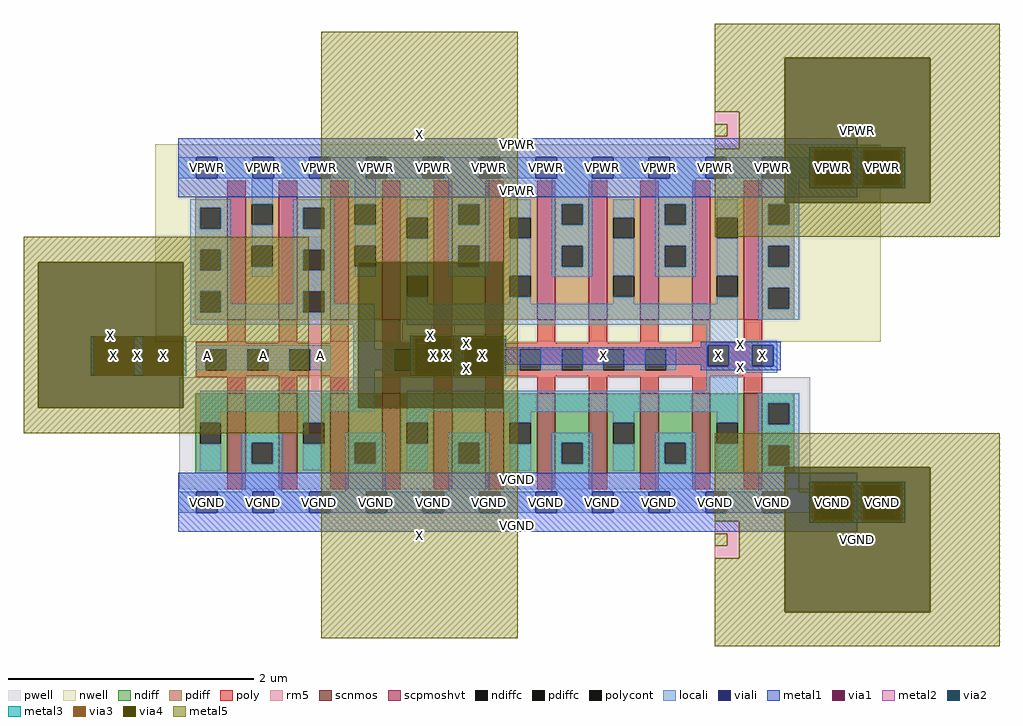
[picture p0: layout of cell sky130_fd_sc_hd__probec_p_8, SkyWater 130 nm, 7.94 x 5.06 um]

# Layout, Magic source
magic
tech sky130B
magscale 1 2
<< nwell >>
rect -38 261 1142 582
<< pwell >>
rect 1 21 1027 203
rect 30 -17 64 21
<< scnmos >>
rect 79 47 109 177
rect 163 47 193 177
rect 247 47 277 177
rect 331 47 361 177
rect 415 47 445 177
rect 499 47 529 177
rect 583 47 613 177
rect 667 47 697 177
rect 751 47 781 177
rect 835 47 865 177
rect 919 47 949 177
<< scpmoshvt >>
rect 79 297 109 497
rect 163 297 193 497
rect 247 297 277 497
rect 331 297 361 497
rect 415 297 445 497
rect 499 297 529 497
rect 583 297 613 497
rect 667 297 697 497
rect 751 297 781 497
rect 835 297 865 497
rect 919 297 949 497
<< ndiff >>
rect 27 129 79 177
rect 27 95 35 129
rect 69 95 79 129
rect 27 47 79 95
rect 109 97 163 177
rect 109 63 119 97
rect 153 63 163 97
rect 109 47 163 63
rect 193 129 247 177
rect 193 95 203 129
rect 237 95 247 129
rect 193 47 247 95
rect 277 97 331 177
rect 277 63 287 97
rect 321 63 331 97
rect 277 47 331 63
rect 361 129 415 177
rect 361 95 371 129
rect 405 95 415 129
rect 361 47 415 95
rect 445 97 499 177
rect 445 63 455 97
rect 489 63 499 97
rect 445 47 499 63
rect 529 129 583 177
rect 529 95 539 129
rect 573 95 583 129
rect 529 47 583 95
rect 613 97 667 177
rect 613 63 623 97
rect 657 63 667 97
rect 613 47 667 63
rect 697 129 751 177
rect 697 95 707 129
rect 741 95 751 129
rect 697 47 751 95
rect 781 97 835 177
rect 781 63 791 97
rect 825 63 835 97
rect 781 47 835 63
rect 865 129 919 177
rect 865 95 875 129
rect 909 95 919 129
rect 865 47 919 95
rect 949 161 1001 177
rect 949 127 959 161
rect 993 127 1001 161
rect 949 93 1001 127
rect 949 59 959 93
rect 993 59 1001 93
rect 949 47 1001 59
<< pdiff >>
rect 27 479 79 497
rect 27 445 35 479
rect 69 445 79 479
rect 27 411 79 445
rect 27 377 35 411
rect 69 377 79 411
rect 27 343 79 377
rect 27 309 35 343
rect 69 309 79 343
rect 27 297 79 309
rect 109 485 163 497
rect 109 451 119 485
rect 153 451 163 485
rect 109 417 163 451
rect 109 383 119 417
rect 153 383 163 417
rect 109 297 163 383
rect 193 479 247 497
rect 193 445 203 479
rect 237 445 247 479
rect 193 411 247 445
rect 193 377 203 411
rect 237 377 247 411
rect 193 343 247 377
rect 193 309 203 343
rect 237 309 247 343
rect 193 297 247 309
rect 277 485 331 497
rect 277 451 287 485
rect 321 451 331 485
rect 277 417 331 451
rect 277 383 287 417
rect 321 383 331 417
rect 277 297 331 383
rect 361 463 415 497
rect 361 429 371 463
rect 405 429 415 463
rect 361 368 415 429
rect 361 334 371 368
rect 405 334 415 368
rect 361 297 415 334
rect 445 485 499 497
rect 445 451 455 485
rect 489 451 499 485
rect 445 417 499 451
rect 445 383 455 417
rect 489 383 499 417
rect 445 297 499 383
rect 529 463 583 497
rect 529 429 539 463
rect 573 429 583 463
rect 529 368 583 429
rect 529 334 539 368
rect 573 334 583 368
rect 529 297 583 334
rect 613 485 667 497
rect 613 451 623 485
rect 657 451 667 485
rect 613 417 667 451
rect 613 383 623 417
rect 657 383 667 417
rect 613 297 667 383
rect 697 463 751 497
rect 697 429 707 463
rect 741 429 751 463
rect 697 368 751 429
rect 697 334 707 368
rect 741 334 751 368
rect 697 297 751 334
rect 781 485 835 497
rect 781 451 791 485
rect 825 451 835 485
rect 781 417 835 451
rect 781 383 791 417
rect 825 383 835 417
rect 781 297 835 383
rect 865 463 919 497
rect 865 429 875 463
rect 909 429 919 463
rect 865 368 919 429
rect 865 334 875 368
rect 909 334 919 368
rect 865 297 919 334
rect 949 485 1001 497
rect 949 451 959 485
rect 993 451 1001 485
rect 949 417 1001 451
rect 949 383 959 417
rect 993 383 1001 417
rect 949 349 1001 383
rect 949 315 959 349
rect 993 315 1001 349
rect 949 297 1001 315
<< ndiffc >>
rect 35 95 69 129
rect 119 63 153 97
rect 203 95 237 129
rect 287 63 321 97
rect 371 95 405 129
rect 455 63 489 97
rect 539 95 573 129
rect 623 63 657 97
rect 707 95 741 129
rect 791 63 825 97
rect 875 95 909 129
rect 959 127 993 161
rect 959 59 993 93
<< pdiffc >>
rect 35 445 69 479
rect 35 377 69 411
rect 35 309 69 343
rect 119 451 153 485
rect 119 383 153 417
rect 203 445 237 479
rect 203 377 237 411
rect 203 309 237 343
rect 287 451 321 485
rect 287 383 321 417
rect 371 429 405 463
rect 371 334 405 368
rect 455 451 489 485
rect 455 383 489 417
rect 539 429 573 463
rect 539 334 573 368
rect 623 451 657 485
rect 623 383 657 417
rect 707 429 741 463
rect 707 334 741 368
rect 791 451 825 485
rect 791 383 825 417
rect 875 429 909 463
rect 875 334 909 368
rect 959 451 993 485
rect 959 383 993 417
rect 959 315 993 349
<< poly >>
rect 79 497 109 523
rect 163 497 193 523
rect 247 497 277 523
rect 331 497 361 523
rect 415 497 445 523
rect 499 497 529 523
rect 583 497 613 523
rect 667 497 697 523
rect 751 497 781 523
rect 835 497 865 523
rect 919 497 949 523
rect 79 261 109 297
rect 28 259 109 261
rect 163 259 193 297
rect 247 259 277 297
rect 28 249 277 259
rect 28 215 44 249
rect 78 215 112 249
rect 146 215 180 249
rect 214 215 277 249
rect 28 205 277 215
rect 28 203 109 205
rect 79 177 109 203
rect 163 177 193 205
rect 247 177 277 205
rect 331 259 361 297
rect 415 259 445 297
rect 499 259 529 297
rect 583 259 613 297
rect 667 259 697 297
rect 751 259 781 297
rect 835 259 865 297
rect 919 259 949 297
rect 331 249 949 259
rect 331 215 351 249
rect 385 215 419 249
rect 453 215 487 249
rect 521 215 555 249
rect 589 215 623 249
rect 657 215 691 249
rect 725 215 759 249
rect 793 215 949 249
rect 331 205 949 215
rect 331 177 361 205
rect 415 177 445 205
rect 499 177 529 205
rect 583 177 613 205
rect 667 177 697 205
rect 751 177 781 205
rect 835 177 865 205
rect 919 177 949 205
rect 79 21 109 47
rect 163 21 193 47
rect 247 21 277 47
rect 331 21 361 47
rect 415 21 445 47
rect 499 21 529 47
rect 583 21 613 47
rect 667 21 697 47
rect 751 21 781 47
rect 835 21 865 47
rect 919 21 949 47
<< polycont >>
rect 44 215 78 249
rect 112 215 146 249
rect 180 215 214 249
rect 351 215 385 249
rect 419 215 453 249
rect 487 215 521 249
rect 555 215 589 249
rect 623 215 657 249
rect 691 215 725 249
rect 759 215 793 249
<< locali >>
rect 0 527 29 561
rect 63 527 121 561
rect 155 527 213 561
rect 247 527 305 561
rect 339 527 397 561
rect 431 527 489 561
rect 523 527 581 561
rect 615 527 673 561
rect 707 527 765 561
rect 799 527 857 561
rect 891 527 949 561
rect 983 527 1041 561
rect 1075 527 1104 561
rect 19 479 85 493
rect 19 445 35 479
rect 69 445 85 479
rect 19 411 85 445
rect 19 377 35 411
rect 69 377 85 411
rect 19 343 85 377
rect 119 485 153 527
rect 119 417 153 451
rect 119 367 153 383
rect 187 479 253 493
rect 187 445 203 479
rect 237 445 253 479
rect 187 411 253 445
rect 187 377 203 411
rect 237 377 253 411
rect 19 309 35 343
rect 69 323 85 343
rect 187 343 253 377
rect 287 485 321 527
rect 287 417 321 451
rect 287 367 321 383
rect 371 463 405 493
rect 371 368 405 429
rect 187 323 203 343
rect 69 309 203 323
rect 237 323 253 343
rect 439 485 505 527
rect 439 451 455 485
rect 489 451 505 485
rect 439 417 505 451
rect 439 383 455 417
rect 489 383 505 417
rect 439 367 505 383
rect 539 463 573 493
rect 539 368 573 429
rect 371 323 405 334
rect 607 485 673 527
rect 607 451 623 485
rect 657 451 673 485
rect 607 417 673 451
rect 607 383 623 417
rect 657 383 673 417
rect 607 367 673 383
rect 707 463 741 493
rect 707 368 741 429
rect 539 323 573 334
rect 775 485 841 527
rect 775 451 791 485
rect 825 451 841 485
rect 775 417 841 451
rect 775 383 791 417
rect 825 383 841 417
rect 775 367 841 383
rect 875 463 909 493
rect 875 368 909 429
rect 707 323 741 334
rect 875 323 909 334
rect 237 309 319 323
rect 19 289 319 309
rect 371 289 909 323
rect 943 485 1009 527
rect 943 451 959 485
rect 993 451 1009 485
rect 943 417 1009 451
rect 943 383 959 417
rect 993 383 1009 417
rect 943 349 1009 383
rect 943 315 959 349
rect 993 315 1009 349
rect 943 297 1009 315
rect 28 249 248 255
rect 28 215 44 249
rect 78 215 112 249
rect 146 215 180 249
rect 214 215 248 249
rect 284 249 319 289
rect 858 263 909 289
rect 858 255 974 263
rect 284 215 351 249
rect 385 215 419 249
rect 453 215 487 249
rect 521 215 555 249
rect 589 215 623 249
rect 657 215 691 249
rect 725 215 759 249
rect 793 215 809 249
rect 858 221 861 255
rect 895 221 933 255
rect 967 221 974 255
rect 284 181 319 215
rect 858 211 974 221
rect 858 181 909 211
rect 35 147 319 181
rect 371 147 909 181
rect 35 129 69 147
rect 203 129 237 147
rect 35 51 69 95
rect 103 97 169 113
rect 103 63 119 97
rect 153 63 169 97
rect 103 17 169 63
rect 371 129 405 147
rect 203 52 237 95
rect 271 97 337 113
rect 271 63 287 97
rect 321 63 337 97
rect 271 17 337 63
rect 539 129 573 147
rect 371 51 405 95
rect 439 97 505 113
rect 439 63 455 97
rect 489 63 505 97
rect 439 17 505 63
rect 707 129 741 147
rect 539 51 573 95
rect 607 97 673 113
rect 607 63 623 97
rect 657 63 673 97
rect 607 17 673 63
rect 875 129 909 147
rect 707 51 741 95
rect 775 97 841 113
rect 775 63 791 97
rect 825 63 841 97
rect 775 17 841 63
rect 875 51 909 95
rect 943 161 1009 177
rect 943 127 959 161
rect 993 127 1009 161
rect 943 93 1009 127
rect 943 59 959 93
rect 993 59 1009 93
rect 943 17 1009 59
rect 0 -17 29 17
rect 63 -17 121 17
rect 155 -17 213 17
rect 247 -17 305 17
rect 339 -17 397 17
rect 431 -17 489 17
rect 523 -17 581 17
rect 615 -17 673 17
rect 707 -17 765 17
rect 799 -17 857 17
rect 891 -17 949 17
rect 983 -17 1041 17
rect 1075 -17 1104 17
<< viali >>
rect 29 527 63 561
rect 121 527 155 561
rect 213 527 247 561
rect 305 527 339 561
rect 397 527 431 561
rect 489 527 523 561
rect 581 527 615 561
rect 673 527 707 561
rect 765 527 799 561
rect 857 527 891 561
rect 949 527 983 561
rect 1041 527 1075 561
rect 861 221 895 255
rect 933 221 967 255
rect 29 -17 63 17
rect 121 -17 155 17
rect 213 -17 247 17
rect 305 -17 339 17
rect 397 -17 431 17
rect 489 -17 523 17
rect 581 -17 615 17
rect 673 -17 707 17
rect 765 -17 799 17
rect 857 -17 891 17
rect 949 -17 983 17
rect 1041 -17 1075 17
<< metal1 >>
rect 0 570 1104 592
rect 0 561 1046 570
rect 0 527 29 561
rect 63 527 121 561
rect 155 527 213 561
rect 247 527 305 561
rect 339 527 397 561
rect 431 527 489 561
rect 523 527 581 561
rect 615 527 673 561
rect 707 527 765 561
rect 799 527 857 561
rect 891 527 949 561
rect 983 527 1041 561
rect 0 518 1046 527
rect 1098 518 1110 570
rect 1162 518 1168 570
rect 0 496 1104 518
rect 404 212 410 264
rect 462 212 474 264
rect 526 252 532 264
rect 849 255 979 261
rect 849 252 861 255
rect 526 224 861 252
rect 526 212 532 224
rect 849 221 861 224
rect 895 221 933 255
rect 967 221 979 255
rect 849 215 979 221
rect 0 26 1104 48
rect 0 17 1046 26
rect 0 -17 29 17
rect 63 -17 121 17
rect 155 -17 213 17
rect 247 -17 305 17
rect 339 -17 397 17
rect 431 -17 489 17
rect 523 -17 581 17
rect 615 -17 673 17
rect 707 -17 765 17
rect 799 -17 857 17
rect 891 -17 949 17
rect 983 -17 1041 17
rect 0 -26 1046 -17
rect 1098 -26 1110 26
rect 1162 -26 1168 26
rect 0 -48 1104 -26
<< via1 >>
rect 1046 561 1098 570
rect 1046 527 1075 561
rect 1075 527 1098 561
rect 1046 518 1098 527
rect 1110 518 1162 570
rect 410 212 462 264
rect 474 212 526 264
rect 1046 17 1098 26
rect 1046 -17 1075 17
rect 1075 -17 1098 17
rect 1046 -26 1098 -17
rect 1110 -26 1162 26
<< metal2 >>
rect 1027 516 1036 572
rect 1092 570 1116 572
rect 1098 518 1110 570
rect 1092 516 1116 518
rect 1172 516 1181 572
rect 378 210 387 266
rect 443 264 467 266
rect 523 264 532 266
rect 462 212 467 264
rect 526 212 532 264
rect 443 210 467 212
rect 523 210 532 212
rect 1027 -28 1036 28
rect 1092 26 1116 28
rect 1098 -26 1110 26
rect 1092 -28 1116 -26
rect 1172 -28 1181 28
<< via2 >>
rect 1036 570 1092 572
rect 1116 570 1172 572
rect 1036 518 1046 570
rect 1046 518 1092 570
rect 1116 518 1162 570
rect 1162 518 1172 570
rect 1036 516 1092 518
rect 1116 516 1172 518
rect 387 264 443 266
rect 467 264 523 266
rect 387 212 410 264
rect 410 212 443 264
rect 467 212 474 264
rect 474 212 523 264
rect 387 210 443 212
rect 467 210 523 212
rect 1036 26 1092 28
rect 1116 26 1172 28
rect 1036 -26 1046 26
rect 1046 -26 1092 26
rect 1116 -26 1162 26
rect 1162 -26 1172 26
rect 1036 -28 1092 -26
rect 1116 -28 1172 -26
<< metal3 >>
rect 1026 576 1182 577
rect 1026 512 1032 576
rect 1096 512 1112 576
rect 1176 512 1182 576
rect 1026 511 1182 512
rect 377 270 533 271
rect -143 206 -137 270
rect -73 206 -57 270
rect 7 206 13 270
rect 377 206 383 270
rect 447 206 463 270
rect 527 206 533 270
rect 377 205 533 206
rect 1026 32 1182 33
rect 1026 -32 1032 32
rect 1096 -32 1112 32
rect 1176 -32 1182 32
rect 1026 -33 1182 -32
<< via3 >>
rect 1032 572 1096 576
rect 1032 516 1036 572
rect 1036 516 1092 572
rect 1092 516 1096 572
rect 1032 512 1096 516
rect 1112 572 1176 576
rect 1112 516 1116 572
rect 1116 516 1172 572
rect 1172 516 1176 572
rect 1112 512 1176 516
rect -137 206 -73 270
rect -57 206 7 270
rect 383 266 447 270
rect 383 210 387 266
rect 387 210 443 266
rect 443 210 447 266
rect 383 206 447 210
rect 463 266 527 270
rect 463 210 467 266
rect 467 210 523 266
rect 523 210 527 266
rect 463 206 527 210
rect 1032 28 1096 32
rect 1032 -28 1036 28
rect 1036 -28 1092 28
rect 1092 -28 1096 28
rect 1032 -32 1096 -28
rect 1112 28 1176 32
rect 1112 -28 1116 28
rect 1116 -28 1172 28
rect 1172 -28 1176 28
rect 1112 -32 1176 -28
<< via4 >>
rect 986 576 1222 723
rect 986 512 1032 576
rect 1032 512 1096 576
rect 1096 512 1112 576
rect 1112 512 1176 576
rect 1176 512 1222 576
rect 986 487 1222 512
rect -228 270 8 390
rect -228 206 -137 270
rect -137 206 -73 270
rect -73 206 -57 270
rect -57 206 7 270
rect 7 206 8 270
rect -228 154 8 206
rect 292 270 528 390
rect 292 206 383 270
rect 383 206 447 270
rect 447 206 463 270
rect 463 206 527 270
rect 527 206 528 270
rect 292 154 528 206
rect 986 32 1222 57
rect 986 -32 1032 32
rect 1032 -32 1096 32
rect 1096 -32 1112 32
rect 1112 -32 1176 32
rect 1176 -32 1222 32
rect 986 -179 1222 -32
<< metal5 >>
rect -252 390 212 432
rect -252 154 -228 390
rect 8 154 212 390
rect -252 112 212 154
rect 232 390 552 765
rect 872 723 1335 778
rect 872 635 986 723
rect 872 595 892 615
rect 912 575 986 635
rect 872 487 986 575
rect 1222 487 1335 723
rect 872 432 1335 487
rect 232 154 292 390
rect 528 154 552 390
rect 232 -221 552 154
rect 872 57 1335 112
rect 872 -31 986 57
rect 872 -71 892 -51
rect 912 -91 986 -31
rect 872 -179 986 -91
rect 1222 -179 1335 57
rect 872 -234 1335 -179
<< rm5 >>
rect 212 112 232 432
rect 872 615 912 635
rect 892 595 912 615
rect 872 575 912 595
rect 872 -51 912 -31
rect 892 -71 912 -51
rect 872 -91 912 -71
<< labels >>
flabel metal3 s -98 206 -34 270 0 FreeSans 600 0 0 0 X
port 6 nsew signal output
flabel locali s 214 221 248 255 0 FreeSans 200 0 0 0 A
port 1 nsew signal input
flabel locali s 122 221 156 255 0 FreeSans 200 0 0 0 A
port 1 nsew signal input
flabel locali s 30 -17 64 17 0 FreeSans 200 0 0 0 VGND
port 2 nsew ground bidirectional abutment
flabel locali s 30 527 64 561 0 FreeSans 200 0 0 0 VPWR
port 5 nsew power bidirectional abutment
flabel locali s 30 221 64 255 0 FreeSans 200 0 0 0 A
port 1 nsew signal input
flabel nwell s 30 527 64 561 0 FreeSans 200 0 0 0 VPB
port 4 nsew power bidirectional
flabel pwell s 30 -17 64 17 0 FreeSans 200 0 0 0 VNB
port 3 nsew ground bidirectional
flabel metal1 s 30 -17 64 17 0 FreeSans 200 0 0 0 VGND
port 2 nsew ground bidirectional abutment
flabel metal1 s 30 527 64 561 0 FreeSans 200 0 0 0 VPWR
port 5 nsew power bidirectional abutment
rlabel comment s 0 0 0 0 4 probec_p_8
rlabel via4 s 330 192 490 352 1 X
port 6 nsew signal output
rlabel via4 s -190 192 -30 352 1 X
port 6 nsew signal output
rlabel via3 s 475 218 515 258 1 X
port 6 nsew signal output
rlabel via3 s 395 218 435 258 1 X
port 6 nsew signal output
rlabel via3 s -45 218 -5 258 1 X
port 6 nsew signal output
rlabel via3 s -125 218 -85 258 1 X
port 6 nsew signal output
rlabel via2 s 475 218 515 258 1 X
port 6 nsew signal output
rlabel via2 s 395 218 435 258 1 X
port 6 nsew signal output
rlabel via1 s 485 223 515 253 1 X
port 6 nsew signal output
rlabel via1 s 421 223 451 253 1 X
port 6 nsew signal output
rlabel viali s 933 221 967 255 1 X
port 6 nsew signal output
rlabel viali s 861 221 895 255 1 X
port 6 nsew signal output
rlabel metal1 s 849 252 979 261 1 X
port 6 nsew signal output
rlabel metal1 s 849 215 979 224 1 X
port 6 nsew signal output
rlabel metal1 s 404 252 532 264 1 X
port 6 nsew signal output
rlabel metal1 s 404 224 979 252 1 X
port 6 nsew signal output
rlabel metal1 s 404 212 532 224 1 X
port 6 nsew signal output
rlabel metal2 s 378 210 532 266 1 X
port 6 nsew signal output
rlabel metal3 s -143 206 13 270 1 X
port 6 nsew signal output
rlabel metal3 s 377 205 533 271 1 X
port 6 nsew signal output
rlabel metal4 s -228 154 8 390 1 X
port 6 nsew signal output
rlabel metal4 s 292 154 528 390 1 X
port 6 nsew signal output
rlabel metal5 s 232 432 552 765 1 X
port 6 nsew signal output
rlabel metal5 s 232 -221 552 112 1 X
port 6 nsew signal output
rlabel via4 s 1024 -141 1184 19 1 VGND
port 2 nsew ground bidirectional abutment
rlabel via3 s 1124 -20 1164 20 1 VGND
port 2 nsew ground bidirectional abutment
rlabel via3 s 1044 -20 1084 20 1 VGND
port 2 nsew ground bidirectional abutment
rlabel via2 s 1124 -20 1164 20 1 VGND
port 2 nsew ground bidirectional abutment
rlabel via2 s 1044 -20 1084 20 1 VGND
port 2 nsew ground bidirectional abutment
rlabel via1 s 1121 -15 1151 15 1 VGND
port 2 nsew ground bidirectional abutment
rlabel via1 s 1057 -15 1087 15 1 VGND
port 2 nsew ground bidirectional abutment
rlabel viali s 1041 -17 1075 17 1 VGND
port 2 nsew ground bidirectional abutment
rlabel viali s 949 -17 983 17 1 VGND
port 2 nsew ground bidirectional abutment
rlabel viali s 857 -17 891 17 1 VGND
port 2 nsew ground bidirectional abutment
rlabel viali s 765 -17 799 17 1 VGND
port 2 nsew ground bidirectional abutment
rlabel viali s 673 -17 707 17 1 VGND
port 2 nsew ground bidirectional abutment
rlabel viali s 581 -17 615 17 1 VGND
port 2 nsew ground bidirectional abutment
rlabel viali s 489 -17 523 17 1 VGND
port 2 nsew ground bidirectional abutment
rlabel viali s 397 -17 431 17 1 VGND
port 2 nsew ground bidirectional abutment
rlabel viali s 305 -17 339 17 1 VGND
port 2 nsew ground bidirectional abutment
rlabel viali s 213 -17 247 17 1 VGND
port 2 nsew ground bidirectional abutment
rlabel viali s 121 -17 155 17 1 VGND
port 2 nsew ground bidirectional abutment
rlabel viali s 29 -17 63 17 1 VGND
port 2 nsew ground bidirectional abutment
rlabel metal1 s 0 26 1104 48 1 VGND
port 2 nsew ground bidirectional abutment
rlabel metal1 s 0 -26 1168 26 1 VGND
port 2 nsew ground bidirectional abutment
rlabel metal1 s 0 -48 1104 -26 1 VGND
port 2 nsew ground bidirectional abutment
rlabel metal2 s 1027 -28 1181 28 1 VGND
port 2 nsew ground bidirectional abutment
rlabel metal3 s 1026 -33 1182 33 1 VGND
port 2 nsew ground bidirectional abutment
rlabel metal4 s 986 -179 1222 57 1 VGND
port 2 nsew ground bidirectional abutment
rlabel via4 s 1024 525 1184 685 1 VPWR
port 5 nsew power bidirectional abutment
rlabel via3 s 1124 524 1164 564 1 VPWR
port 5 nsew power bidirectional abutment
rlabel via3 s 1044 524 1084 564 1 VPWR
port 5 nsew power bidirectional abutment
rlabel via2 s 1124 524 1164 564 1 VPWR
port 5 nsew power bidirectional abutment
rlabel via2 s 1044 524 1084 564 1 VPWR
port 5 nsew power bidirectional abutment
rlabel via1 s 1121 529 1151 559 1 VPWR
port 5 nsew power bidirectional abutment
rlabel via1 s 1057 529 1087 559 1 VPWR
port 5 nsew power bidirectional abutment
rlabel viali s 1041 527 1075 561 1 VPWR
port 5 nsew power bidirectional abutment
rlabel viali s 949 527 983 561 1 VPWR
port 5 nsew power bidirectional abutment
rlabel viali s 857 527 891 561 1 VPWR
port 5 nsew power bidirectional abutment
rlabel viali s 765 527 799 561 1 VPWR
port 5 nsew power bidirectional abutment
rlabel viali s 673 527 707 561 1 VPWR
port 5 nsew power bidirectional abutment
rlabel viali s 581 527 615 561 1 VPWR
port 5 nsew power bidirectional abutment
rlabel viali s 489 527 523 561 1 VPWR
port 5 nsew power bidirectional abutment
rlabel viali s 397 527 431 561 1 VPWR
port 5 nsew power bidirectional abutment
rlabel viali s 305 527 339 561 1 VPWR
port 5 nsew power bidirectional abutment
rlabel viali s 213 527 247 561 1 VPWR
port 5 nsew power bidirectional abutment
rlabel viali s 121 527 155 561 1 VPWR
port 5 nsew power bidirectional abutment
rlabel viali s 29 527 63 561 1 VPWR
port 5 nsew power bidirectional abutment
rlabel metal1 s 0 570 1104 592 1 VPWR
port 5 nsew power bidirectional abutment
rlabel metal1 s 0 518 1168 570 1 VPWR
port 5 nsew power bidirectional abutment
rlabel metal1 s 0 496 1104 518 1 VPWR
port 5 nsew power bidirectional abutment
rlabel metal2 s 1027 516 1181 572 1 VPWR
port 5 nsew power bidirectional abutment
rlabel metal3 s 1026 511 1182 577 1 VPWR
port 5 nsew power bidirectional abutment
rlabel metal4 s 986 487 1222 723 1 VPWR
port 5 nsew power bidirectional abutment
<< properties >>
string FIXED_BBOX 0 0 1104 544
string GDS_END 31774
string GDS_FILE $PDKPATH/libs.ref/sky130_fd_sc_hd/gds/sky130_fd_sc_hd.gds
string GDS_START 18966
string LEFclass CORE
string LEFsite unithd
string LEFsymmetry X Y R90
<< end >>
